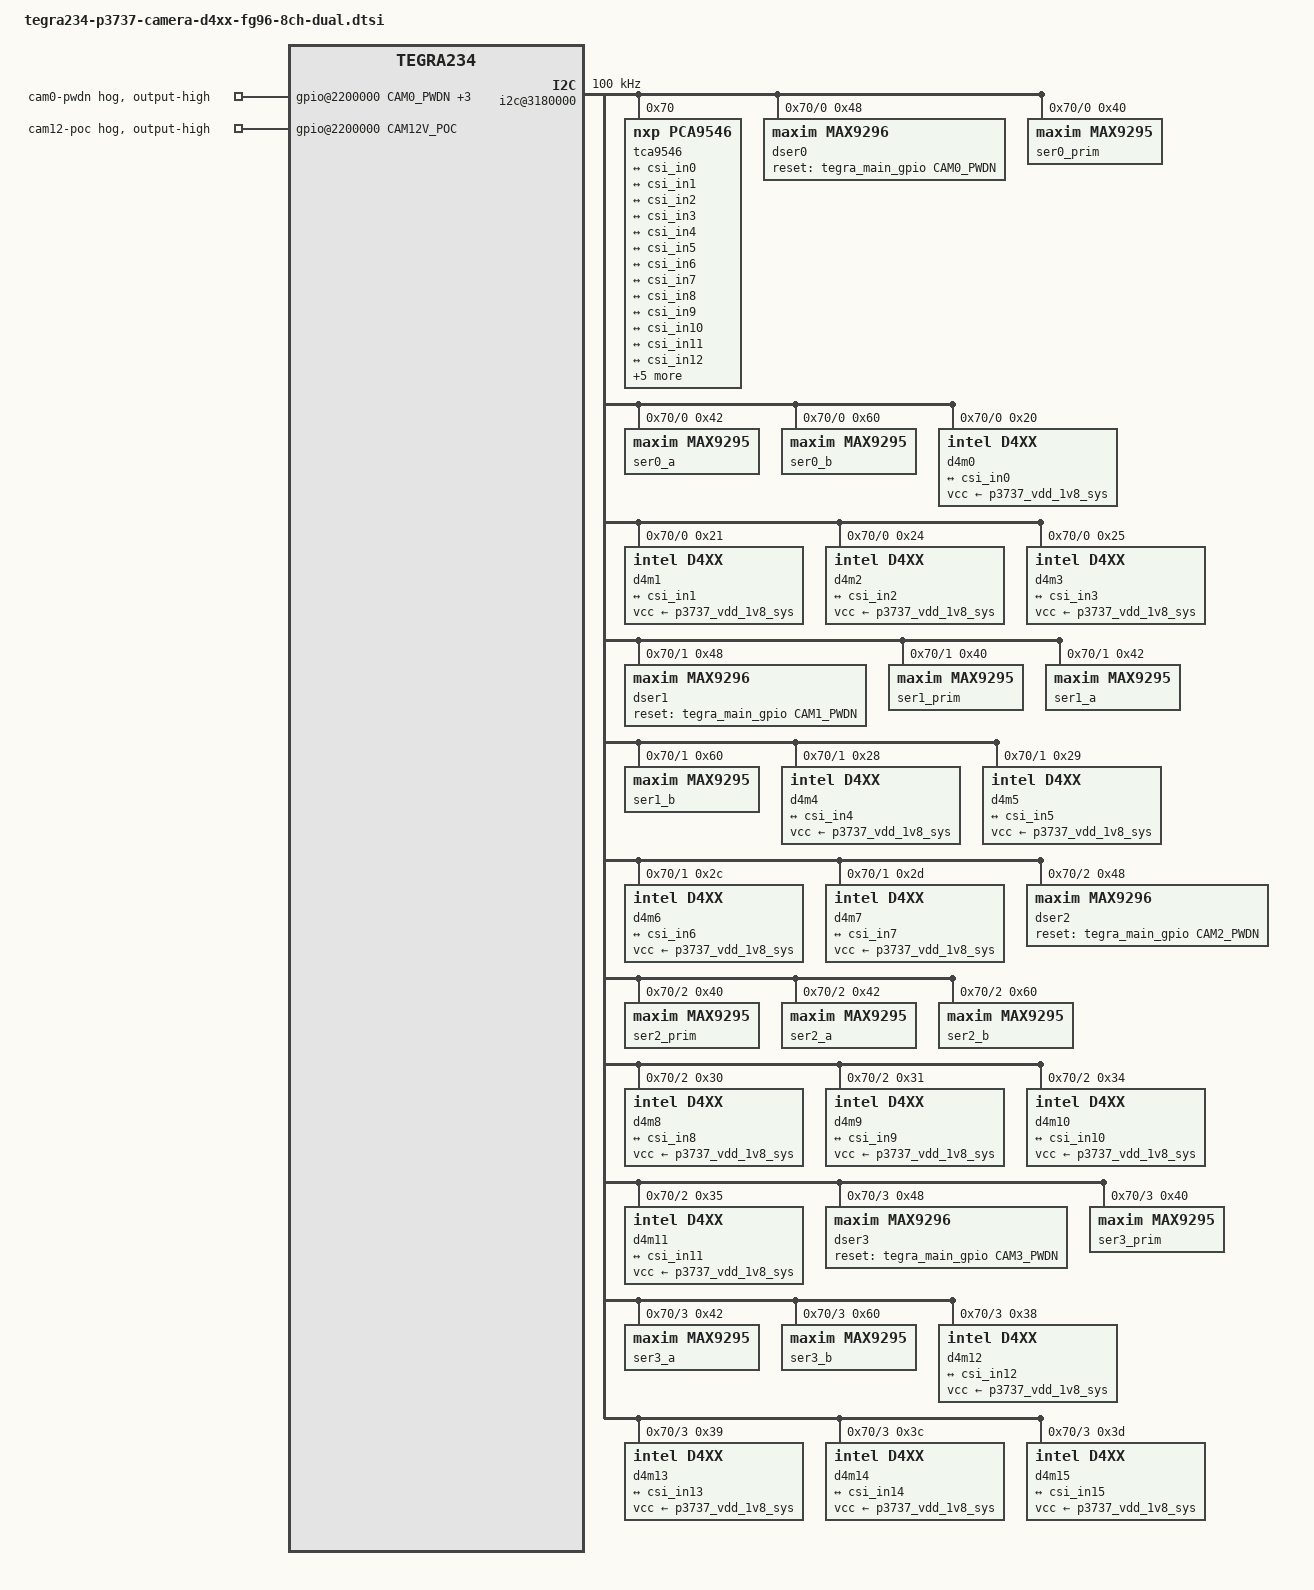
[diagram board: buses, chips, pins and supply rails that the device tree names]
// URL: https://fg96-8ch-doc.readthedocs.io/

#include "dt-bindings/clock/tegra234-clock.h"

#define CAM0_PWDN	TEGRA234_MAIN_GPIO(H, 6) //Pin93  - UART4_CTS L49/397      - MAX9296_1 PWDN
#define CAM1_PWDN	TEGRA234_MAIN_GPIO(H, 3) //Pin95  - UART4_TX  L5/394       - MAX9296_2 PWDN
#define CAM2_PWDN	TEGRA234_MAIN_GPIO(AC, 1)//Pin90  - GPIO15    F10/486      - MAX9296_3 PWDN
#define CAM3_PWDN	TEGRA234_MAIN_GPIO(AC, 0)//Pin92  - GPIO16    E9/487       - MAX9296_4 PWDN
#define CAM12V_POC	TEGRA234_MAIN_GPIO(AC, 7)//Pin119 - GPIO12    E10 CAM_VDD_SYS_EN/493 Low enable

#define CAM_SYNC	TEGRA234_AON_GPIO(CC, 0) //E61/SPI2_CLK       CAM_INT1/328 - MAX9296x4 MFP6

#define CAMERA_I2C_MUX_BUS(x) (0x1E + x)

// d4m addr 0x001cclss
// cc: max9296 index.  [0-3] for fg96
// l : a/b link index. [0-1] for a/b
// ss: stream index.   [0-3] for stream. 0: depth 1: color 2: ir 3: imu
// 4x max9296 - 4x d457
// [0x20-0x23][0x28-0x2b][0x30-0x33][0x38-0x3b]
// 4x max9296 - 8x d457
// [0x20-0x23][0x24-0x27]
// [0x28-0x2b][0x2c-0x2f]
// [0x30-0x33][0x34-0x37]
// [0x38-0x3b][0x3c-0x3f]

/* camera control gpio definitions */
/ {
	gpio@2200000 {
		cam-pwdn-high {
			gpio-hog;
			output-high;
			gpios = <CAM0_PWDN 0 CAM1_PWDN 0
				 CAM2_PWDN 0 CAM3_PWDN 0>;
			label = "cam0-pwdn", "cam1-pwdn",
				"cam2-pwdn", "cam3-pwdn";
		};
		cam-poc-high {
			gpio-hog;
			output-high;
			gpios = <CAM12V_POC 0>;
			label = "cam12-poc";
		};
	};

	capture_vi_base: tegra-capture-vi{
		num-channels = <16>;
		ports {
			#address-cells = <1>;
			#size-cells = <0>;

			vi_port0: port@0 {
				reg = <0>;
				vi_in0: endpoint {
					vc-id = <0>;
					port-index = <0>;
					bus-width = <2>;
					remote-endpoint = <&csi_out0>;
				};
			};
			vi_port1: port@1 {
				reg = <1>;
				vi_in1: endpoint {
					vc-id = <1>;
					port-index = <0>;
					bus-width = <2>;
					remote-endpoint = <&csi_out1>;
				};
			};
			vi_port2: port@2 {
				reg = <2>;
				vi_in2: endpoint {
					vc-id = <2>;
					port-index = <0>;
					bus-width = <2>;
					remote-endpoint = <&csi_out2>;
				};
			};
			vi_port3: port@3 {
				reg = <3>;
				vi_in3: endpoint {
					vc-id = <3>;
					port-index = <0>;
					bus-width = <2>;
					remote-endpoint = <&csi_out3>;
				};
			};
			vi_port4: port@4 {
				reg = <4>;
				vi_in4: endpoint {
					vc-id = <0>;
					port-index = <2>;
					bus-width = <2>;
					remote-endpoint = <&csi_out4>;
				};
			};
			vi_port5: port@5 {
				reg = <5>;
				vi_in5: endpoint {
					vc-id = <1>;
					port-index = <2>;
					bus-width = <2>;
					remote-endpoint = <&csi_out5>;
				};
			};
			vi_port6: port@6 {
				reg = <6>;
				vi_in6: endpoint {
					vc-id = <2>;
					port-index = <2>;
					bus-width = <2>;
					remote-endpoint = <&csi_out6>;
				};
			};
			vi_port7: port@7 {
				reg = <7>;
				vi_in7: endpoint {
					vc-id = <3>;
					port-index = <2>;
					bus-width = <2>;
					remote-endpoint = <&csi_out7>;
				};
			};
			vi_port8: port@8 {
				reg = <8>;
				vi_in8: endpoint {
					vc-id = <0>;
					port-index = <4>;
					bus-width = <2>;
					remote-endpoint = <&csi_out8>;
				};
			};
			vi_port9: port@9 {
				reg = <9>;
				vi_in9: endpoint {
					vc-id = <1>;
					port-index = <4>;
					bus-width = <2>;
					remote-endpoint = <&csi_out9>;
				};
			};
			vi_port10: port@10 {
				reg = <10>;
				vi_in10: endpoint {
					vc-id = <2>;
					port-index = <4>;
					bus-width = <2>;
					remote-endpoint = <&csi_out10>;
				};
			};
			vi_port11: port@11 {
				reg = <11>;
				vi_in11: endpoint {
					vc-id = <3>;
					port-index = <4>;
					bus-width = <2>;
					remote-endpoint = <&csi_out11>;
				};
			};
			vi_port12: port@12 {
				reg = <12>;
				vi_in12: endpoint {
					vc-id = <0>;
					port-index = <5>;
					bus-width = <2>;
					remote-endpoint = <&csi_out12>;
				};
			};
			vi_port13: port@13 {
				reg = <13>;
				vi_in13: endpoint {
					vc-id = <1>;
					port-index = <5>;
					bus-width = <2>;
					remote-endpoint = <&csi_out13>;
				};
			};
			vi_port14: port@14 {
				reg = <14>;
				vi_in14: endpoint {
					vc-id = <2>;
					port-index = <5>;
					bus-width = <2>;
					remote-endpoint = <&csi_out14>;
				};
			};
			vi_port15: port@15 {
				reg = <15>;
				vi_in15: endpoint {
					vc-id = <3>;
					port-index = <5>;
					bus-width = <2>;
					remote-endpoint = <&csi_out15>;
				};
			};
		};
	};

	host1x@13e00000 {
		csi_base: nvcsi@15a00000 {
			#address-cells = <1>;
			#size-cells = <0>;
			num-channels = <16>;
			csi_chan0: channel@0 {
				reg = <0>;
				ports {
					#address-cells = <1>;
					#size-cells = <0>;

					csi_chan0_port0: port@0 {
						reg = <0>;
						csi_in0: endpoint@0 {
							port-index = <0>;
							bus-width = <2>;
							remote-endpoint = <&d4m0_out>;
						};
					};
					csi_chan0_port1: port@1 {
						reg = <1>;
						csi_out0: endpoint@1 {
							remote-endpoint = <&vi_in0>;
						};
					};

				};
			};
			csi_chan1: channel@1 {
				reg = <1>;
				ports {
					#address-cells = <1>;
					#size-cells = <0>;

					csi_chan1_port0: port@0 {
						reg = <0>;
						csi_in1: endpoint@2 {
							port-index = <0>;
							bus-width = <2>;
							remote-endpoint = <&d4m1_out>;
						};
					};
					csi_chan1_port1: port@1 {
						reg = <1>;
						csi_out1: endpoint@3 {
							remote-endpoint = <&vi_in1>;
						};
					};

				};
			};
			csi_chan2: channel@2 {
				reg = <2>;
				ports {
					#address-cells = <1>;
					#size-cells = <0>;

					csi_chan2_port0: port@0 {
						reg = <0>;
						csi_in2: endpoint@4 {
							port-index = <0>;
							bus-width = <2>;
							remote-endpoint = <&d4m2_out>;
						};
					};
					csi_chan2_port1: port@1 {
						reg = <1>;
						csi_out2: endpoint@5 {
							remote-endpoint = <&vi_in2>;
						};
					};
				};
			};
			csi_chan3: channel@3 {
				reg = <3>;
				ports {
					#address-cells = <1>;
					#size-cells = <0>;

					csi_chan3_port0: port@0 {
						reg = <0>;
						csi_in3: endpoint@6 {
							port-index = <0>;
							bus-width = <2>;
							remote-endpoint = <&d4m3_out>;
						};
					};
					csi_chan3_port1: port@1 {
						reg = <1>;
						csi_out3: endpoint@7 {
							remote-endpoint = <&vi_in3>;
						};
					};
				};
			};
			csi_chan4: channel@4 {
				reg = <4>;
				ports {
					#address-cells = <1>;
					#size-cells = <0>;

					csi_chan4_port0: port@0 {
						reg = <0>;
						csi_in4: endpoint@8 {
							port-index = <2>;
							bus-width = <2>;
							remote-endpoint = <&d4m4_out>;
						};
					};
					csi_chan4_port1: port@1 {
						reg = <1>;
						csi_out4: endpoint@9 {
							remote-endpoint = <&vi_in4>;
						};
					};

				};
			};
			csi_chan5: channel@5 {
				reg = <5>;
				ports {
					#address-cells = <1>;
					#size-cells = <0>;

					csi_chan5_port0: port@0 {
						reg = <0>;
						csi_in5: endpoint@10 {
							port-index = <2>;
							bus-width = <2>;
							remote-endpoint = <&d4m5_out>;
						};
					};
					csi_chan5_port1: port@1 {
						reg = <1>;
						csi_out5: endpoint@11 {
							remote-endpoint = <&vi_in5>;
						};
					};
				};
			};
			csi_chan6: channel@6 {
				reg = <6>;
				ports {
					#address-cells = <1>;
					#size-cells = <0>;

					csi_chan6_port0: port@0 {
						reg = <0>;
						csi_in6: endpoint@12 {
							port-index = <2>;
							bus-width = <2>;
							remote-endpoint = <&d4m6_out>;
						};
					};
					csi_chan6_port1: port@1 {
						reg = <1>;
						csi_out6: endpoint@13 {
							remote-endpoint = <&vi_in6>;
						};
					};
				};
			};
			csi_chan7: channel@7 {
				reg = <7>;
				ports {
					#address-cells = <1>;
					#size-cells = <0>;

					csi_chan7_port0: port@0 {
						reg = <0>;
						csi_in7: endpoint@14 {
							port-index = <2>;
							bus-width = <2>;
							remote-endpoint = <&d4m7_out>;
						};
					};
					csi_chan7_port1: port@1 {
						reg = <1>;
						csi_out7: endpoint@15 {
							remote-endpoint = <&vi_in7>;
						};
					};
				};
			};
			csi_chan8: channel@8 {
				reg = <8>;
				ports {
					#address-cells = <1>;
					#size-cells = <0>;

					csi_chan8_port0: port@0 {
						reg = <0>;
						csi_in8: endpoint@16 {
							port-index = <4>;
							bus-width = <2>;
							remote-endpoint = <&d4m8_out>;
						};
					};
					csi_chan8_port1: port@1 {
						reg = <1>;
						csi_out8: endpoint@17 {
							remote-endpoint = <&vi_in8>;
						};
					};

				};
			};
			csi_chan9: channel@9 {
				reg = <9>;
				ports {
					#address-cells = <1>;
					#size-cells = <0>;

					csi_chan9_port0: port@0 {
						reg = <0>;
						csi_in9: endpoint@18 {
							port-index = <4>;
							bus-width = <2>;
							remote-endpoint = <&d4m9_out>;
						};
					};
					csi_chan9_port1: port@1 {
						reg = <1>;
						csi_out9: endpoint@19 {
							remote-endpoint = <&vi_in9>;
						};
					};

				};
			};
			csi_chan10: channel@10 {
				reg = <10>;
				ports {
					#address-cells = <1>;
					#size-cells = <0>;

					csi_chan10_port0: port@0 {
						reg = <0>;
						csi_in10: endpoint@20 {
							port-index = <4>;
							bus-width = <2>;
							remote-endpoint = <&d4m10_out>;
						};
					};
					csi_chan10_port1: port@1 {
						reg = <1>;
						csi_out10: endpoint@21 {
							remote-endpoint = <&vi_in10>;
						};
					};
				};
			};
			csi_chan11: channel@11 {
				reg = <11>;
				ports {
					#address-cells = <1>;
					#size-cells = <0>;

					csi_chan11_port0: port@0 {
						reg = <0>;
						csi_in11: endpoint@22 {
							port-index = <4>;
							bus-width = <2>;
							remote-endpoint = <&d4m11_out>;
						};
					};
					csi_chan11_port1: port@1 {
						reg = <1>;
						csi_out11: endpoint@23 {
							remote-endpoint = <&vi_in11>;
						};
					};
				};
			};
			csi_chan12: channel@12 {
				reg = <12>;
				ports {
					#address-cells = <1>;
					#size-cells = <0>;

					csi_chan12_port0: port@0 {
						reg = <0>;
						csi_in12: endpoint@24 {
							port-index = <6>;
							bus-width = <2>;
							remote-endpoint = <&d4m12_out>;
						};
					};
					csi_chan12_port1: port@1 {
						reg = <1>;
						csi_out12: endpoint@25 {
							remote-endpoint = <&vi_in12>;
						};
					};

				};
			};
			csi_chan13: channel@13 {
				reg = <13>;
				ports {
					#address-cells = <1>;
					#size-cells = <0>;

					csi_chan13_port0: port@0 {
						reg = <0>;
						csi_in13: endpoint@26 {
							port-index = <6>;
							bus-width = <2>;
							remote-endpoint = <&d4m13_out>;
						};
					};
					csi_chan13_port1: port@1 {
						reg = <1>;
						csi_out13: endpoint@27 {
							remote-endpoint = <&vi_in13>;
						};
					};
				};
			};
			csi_chan14: channel@14 {
				reg = <14>;
				ports {
					#address-cells = <1>;
					#size-cells = <0>;

					csi_chan14_port0: port@0 {
						reg = <0>;
						csi_in14: endpoint@28 {
							port-index = <6>;
							bus-width = <2>;
							remote-endpoint = <&d4m14_out>;
						};
					};
					csi_chan14_port1: port@1 {
						reg = <1>;
						csi_out14: endpoint@29 {
							remote-endpoint = <&vi_in14>;
						};
					};
				};
			};
			csi_chan15: channel@15 {
				reg = <15>;
				ports {
					#address-cells = <1>;
					#size-cells = <0>;

					csi_chan15_port0: port@0 {
						reg = <0>;
						csi_in15: endpoint@30 {
							port-index = <6>;
							bus-width = <2>;
							remote-endpoint = <&d4m15_out>;
						};
					};
					csi_chan15_port1: port@1 {
						reg = <1>;
						csi_out15: endpoint@31 {
							remote-endpoint = <&vi_in15>;
						};
					};
				};
			};
		};
	};
	
	i2c@3180000 {
		status = "okay";
		clock-frequency = <100000>;
		tca9546@70 {
			reg = <0x70>;
			compatible = "nxp,pca9546";
			#address-cells = <1>;
			#size-cells = <0>;
			skip_mux_detect = "yes";
			vif-supply = <&p3737_vdd_1v8_sys>;
			vcc-supply = <&p3737_vdd_1v8_sys>;
			vcc-pullup-supply = <&battery_reg>;
			force_bus_start = <CAMERA_I2C_MUX_BUS(0)>;
			vcc_lp = "vcc";
			i2c@0 {
				reg = <0>;
				i2c-mux,deselect-on-exit;
				#address-cells = <1>;
				#size-cells = <0>;

				dser0: max9296@48 {
					reg = <0x48>;
					compatible = "maxim,max9296";
					csi-mode = "2x4";
					max-src = <2>;
					reset-gpios = <&tegra_main_gpio CAM0_PWDN GPIO_ACTIVE_HIGH>;
				};
				ser0_prim: max9295_prim@40 {
					reg = <0x40>;
					compatible = "maxim,max9295";
					is-prim-ser;
					ser-mux = <0>;
				};
				ser0_a: max9295_a@42 {
					reg = <0x42>;
					compatible = "maxim,max9295";
					maxim,gmsl-dser-device = <&dser0>;
				};
				ser0_b: max9295_b@60 {
					reg = <0x60>;
					compatible = "maxim,max9295";
					maxim,gmsl-dser-device = <&dser0>;
				};

				d4m0: d4m@20 {
					reg = <0x20>;
					compatible = "intel,d4xx";
					def-addr = <0x10>;
					vcc-supply = <&p3737_vdd_1v8_sys>;
					cam-type = "Depth";
					maxim,gmsl-ser-device = <&ser0_a>;
					maxim,gmsl-dser-device = <&dser0>;
					intel,d4m-mux-device = <&d4m1>;
					ports {
						#address-cells = <1>;
						#size-cells = <0>;

						port@0 {
							reg = <0>;
							d4m0_out: endpoint {
								port-index = <0>;
								bus-width = <2>;
								vc-id = <0>;
								remote-endpoint = <&csi_in0>;
							};
						};
					};
					mode0 {
						pixel_t = "grey_y16";
						num_lanes = "2";
						csi_pixel_bit_depth = "16";
						active_w = "1280";
						active_h = "720";
						tegra_sinterface = "serial_a";
						mclk_khz = "24000";
						pix_clk_hz = "74250000";
						line_length = "1280";
						embedded_metadata_height = "1";
					};
					gmsl-link {
						src-csi-port = "b";
						dst-csi-port = "a";
						serdes-csi-link = "a";
						csi-mode = "1x4";
						st-vc = <0>;
						vc-id = <0>;
						num-lanes = <2>;
						ser-mux=<0>;
					};
				};
				d4m1: d4m@21 {
					reg = <0x21>;
					compatible = "intel,d4xx";
					def-addr = <0x10>;
					vcc-supply = <&p3737_vdd_1v8_sys>;
					cam-type = "RGB";
					maxim,gmsl-ser-device = <&ser0_a>;
					maxim,gmsl-dser-device = <&dser0>;
					intel,d4m-mux-device = <&d4m1>;
					ports {
						#address-cells = <1>;
						#size-cells = <0>;

						port@0 {
							reg = <0>;
							d4m1_out: endpoint {
								port-index = <0>;
								bus-width = <2>;
								vc-id = <1>;
								remote-endpoint = <&csi_in1>;
							};
						};
					};
					mode0 {
						pixel_t = "grey_y16";
						num_lanes = "2";
						csi_pixel_bit_depth = "16";
						active_w = "1920";
						active_h = "1080";
						tegra_sinterface = "serial_a";
						mclk_khz = "24000";
						pix_clk_hz = "74250000";
						line_length = "1280";
						embedded_metadata_height = "1";
					};
					gmsl-link {
						src-csi-port = "b";
						dst-csi-port = "a";
						serdes-csi-link = "a";
						csi-mode = "1x4";
						st-vc = <0>;
						vc-id = <1>;
						num-lanes = <2>;
						ser-mux=<0>;
					};
				};
				// d4m1: d4m@22 {
				// 	status = "okay";
				// 	reg = <0x22>;
				// 	compatible = "intel,d4xx";
				// 	def-addr = <0x10>;
				// 	vcc-supply = <&p3737_vdd_1v8_sys>;
				// 	cam-type = "Y8";
				// 	maxim,gmsl-ser-device = <&ser0_a>;
				// 	maxim,gmsl-dser-device = <&dser0>;
				// 	intel,d4m-mux-device = <&d4m1>;
				// 	ports {
				// 		#address-cells = <1>;
				// 		#size-cells = <0>;

				// 		port@0 {
				// 			reg = <0>;
				// 			d4m1_out: endpoint {
				// 				port-index = <0>;
				// 				bus-width = <2>;
				// 				vc-id = <1>;
				// 				remote-endpoint = <&csi_in1>;
				// 			};
				// 		};
				// 	};
				// 	/* mode0: Y8, mode1: depth D16 */
				// 	mode0 {
				// 		pixel_t = "grey_y16";
				// 		num_lanes = "2";
				// 		csi_pixel_bit_depth = "16";
				// 		active_w = "1280";
				// 		active_h = "720";
				// 		tegra_sinterface = "serial_a";
				// 		mclk_khz = "24000";
				// 		pix_clk_hz = "74250000";
				// 		line_length = "1280"; /* 2200 */
				// 		embedded_metadata_height = "0";
				// 	};
				// 	gmsl-link {
				// 		src-csi-port = "b";
				// 		dst-csi-port = "a";
				// 		serdes-csi-link = "a";
				// 		csi-mode = "1x4";
				// 		st-vc = <0>;
				// 		vc-id = <1>;
				// 		num-lanes = <2>;
				// 		ser-mux = <0>;
				// 	};
				// };

				d4m2: d4m@24 {
					status = "okay";
					reg = <0x24>;
					compatible = "intel,d4xx";
					def-addr = <0x10>;
					vcc-supply = <&p3737_vdd_1v8_sys>;
					cam-type = "Depth";
					maxim,gmsl-ser-device = <&ser0_b>;
					maxim,gmsl-dser-device = <&dser0>;
					intel,d4m-mux-device = <&d4m3>;
					ports {
						#address-cells = <1>;
						#size-cells = <0>;

						port@0 {
							reg = <0>;
							d4m2_out: endpoint {
								port-index = <0>;
								bus-width = <2>;
								vc-id = <2>;
								remote-endpoint = <&csi_in2>;
							};
						};
					};
					mode0 {
						pixel_t = "grey_y16";
						num_lanes = "2";
						csi_pixel_bit_depth = "16";
						active_w = "1280";
						active_h = "720";
						tegra_sinterface = "serial_a";
						mclk_khz = "24000";
						pix_clk_hz = "74250000";
						line_length = "1280";
						embedded_metadata_height = "1";
					};
					gmsl-link {
						src-csi-port = "b";
						dst-csi-port = "a";
						serdes-csi-link = "b";
						csi-mode = "1x4";
						st-vc = <0>;
						vc-id = <2>;
						num-lanes = <2>;
						ser-mux=<0>;
					};
				};
				d4m3: d4m@25 {
					status = "okay";
					reg = <0x25>;
					compatible = "intel,d4xx";
					def-addr = <0x10>;
					vcc-supply = <&p3737_vdd_1v8_sys>;
					cam-type = "RGB";
					maxim,gmsl-ser-device = <&ser0_b>;
					maxim,gmsl-dser-device = <&dser0>;
					intel,d4m-mux-device = <&d4m3>;
					ports {
						#address-cells = <1>;
						#size-cells = <0>;

						port@0 {
							reg = <0>;
							d4m3_out: endpoint {
								port-index = <0>;
								bus-width = <2>;
								vc-id = <3>;
								remote-endpoint = <&csi_in3>;
							};
						};
					};
					mode0 {
						pixel_t = "grey_y16";
						num_lanes = "2";
						csi_pixel_bit_depth = "16";
						active_w = "1920";
						active_h = "1080";
						tegra_sinterface = "serial_a";
						mclk_khz = "24000";
						pix_clk_hz = "74250000";
						line_length = "1280"; /* 2200 */
						embedded_metadata_height = "1";
					};
					gmsl-link {
						src-csi-port = "b";
						dst-csi-port = "a";
						serdes-csi-link = "b";
						csi-mode = "1x4";
						st-vc = <0>;
						vc-id = <3>;
						num-lanes = <2>;
						ser-mux=<0>;
					};
				};
				// d4m3: d4m@26 {
				// 	status = "okay";
				// 	reg = <0x26>;
				// 	compatible = "intel,d4xx";
				// 	def-addr = <0x10>;
				// 	vcc-supply = <&p3737_vdd_1v8_sys>;
				// 	cam-type = "Y8";
				// 	maxim,gmsl-ser-device = <&ser0_b>;
				// 	maxim,gmsl-dser-device = <&dser0>;
				// 	intel,d4m-mux-device = <&d4m3>;
				// 	ports {
				// 		#address-cells = <1>;
				// 		#size-cells = <0>;

				// 		port@0 {
				// 			reg = <0>;
				// 			d4m3_out: endpoint {
				// 				port-index = <0>;
				// 				bus-width = <2>;
				// 				vc-id = <3>;
				// 				remote-endpoint = <&csi_in3>;
				// 			};
				// 		};
				// 	};
				// 	/* mode0: Y8, mode1: depth D16 */
				// 	mode0 {
				// 		pixel_t = "grey_y16";
				// 		num_lanes = "2";
				// 		csi_pixel_bit_depth = "16";
				// 		active_w = "1280";
				// 		active_h = "720";
				// 		tegra_sinterface = "serial_a";
				// 		mclk_khz = "24000";
				// 		pix_clk_hz = "74250000";
				// 		line_length = "1280"; /* 2200 */
				// 		embedded_metadata_height = "0";
				// 	};
				// 	gmsl-link {
				// 		src-csi-port = "b";
				// 		dst-csi-port = "a";
				// 		serdes-csi-link = "b";
				// 		csi-mode = "1x4";
				// 		st-vc = <0>;
				// 		vc-id = <3>;
				// 		num-lanes = <2>;
				// 		ser-mux = <0>;
				// 	};
				// };
			};

			i2c@1 {
				reg = <1>;
				i2c-mux,deselect-on-exit;
				#address-cells = <1>;
				#size-cells = <0>;

				dser1: max9296@48 {
					reg = <0x48>;
					compatible = "maxim,max9296";
					csi-mode = "2x4";
					max-src = <2>;
					reset-gpios = <&tegra_main_gpio CAM1_PWDN GPIO_ACTIVE_HIGH>;
				};
				ser1_prim: max9295_prim@40 {
					reg = <0x40>;
					compatible = "maxim,max9295";
					is-prim-ser;
					ser-mux = <1>;
				};

				ser1_a: max9295_a@42 {
					reg = <0x42>;
					compatible = "maxim,max9295";
					maxim,gmsl-dser-device = <&dser1>;
				};
				ser1_b: max9295_b@60 {
					reg = <0x60>;
					compatible = "maxim,max9295";
					maxim,gmsl-dser-device = <&dser1>;
				};

				d4m4: d4m@28 {
					status = "okay";
					reg = <0x28>;
					compatible = "intel,d4xx";
					def-addr = <0x10>;
					vcc-supply = <&p3737_vdd_1v8_sys>;
					cam-type = "Depth";
					maxim,gmsl-ser-device = <&ser1_a>;
					maxim,gmsl-dser-device = <&dser1>;
					intel,d4m-mux-device = <&d4m5>;
					ports {
						#address-cells = <1>;
						#size-cells = <0>;

						port@0 {
							reg = <0>;
							d4m4_out: endpoint {
								port-index = <2>;
								bus-width = <2>;
								vc-id = <0>;
								remote-endpoint = <&csi_in4>;
							};
						};
					};
					mode0 {
						pixel_t = "grey_y16";
						num_lanes = "2";
						csi_pixel_bit_depth = "16";
						active_w = "1280";
						active_h = "720";
						tegra_sinterface = "serial_c";
						mclk_khz = "24000";
						pix_clk_hz = "74250000";
						line_length = "1280";
						embedded_metadata_height = "1";
					};
					gmsl-link {
						src-csi-port = "b";
						dst-csi-port = "a";
						serdes-csi-link = "a";
						csi-mode = "1x4";
						st-vc = <0>;
						vc-id = <0>;
						num-lanes = <2>;
						ser-mux=<1>;
					};
				};
				d4m5: d4m@29 {
					status = "okay";
					reg = <0x29>;
					compatible = "intel,d4xx";
					def-addr = <0x10>;
					vcc-supply = <&p3737_vdd_1v8_sys>;
					cam-type = "RGB";
					maxim,gmsl-ser-device = <&ser1_a>;
					maxim,gmsl-dser-device = <&dser1>;
					intel,d4m-mux-device = <&d4m5>;
					ports {
						#address-cells = <1>;
						#size-cells = <0>;

						port@0 {
							reg = <0>;
							d4m5_out: endpoint {
								port-index = <2>;
								bus-width = <2>;
								vc-id = <1>;
								remote-endpoint = <&csi_in5>;
							};
						};
					};
					mode0 {
						pixel_t = "grey_y16";
						num_lanes = "2";
						csi_pixel_bit_depth = "16";
						active_w = "1920";
						active_h = "1080";
						tegra_sinterface = "serial_c";
						mclk_khz = "24000";
						pix_clk_hz = "74250000";
						line_length = "1280";
						embedded_metadata_height = "1";
					};
					gmsl-link {
						src-csi-port = "b";
						dst-csi-port = "a";
						serdes-csi-link = "a";
						csi-mode = "1x4";
						st-vc = <0>;
						vc-id = <1>;
						num-lanes = <2>;
						ser-mux=<1>;
					};
				};
				// d4m5: d4m@2a {
				// 	status = "okay";
				// 	reg = <0x2a>;
				// 	compatible = "intel,d4xx";
				// 	def-addr = <0x10>;
				// 	vcc-supply = <&p3737_vdd_1v8_sys>;
				// 	cam-type = "Y8";
				// 	maxim,gmsl-ser-device = <&ser1_a>;
				// 	maxim,gmsl-dser-device = <&dser1>;
				// 	intel,d4m-mux-device = <&d4m5>;
				// 	ports {
				// 		#address-cells = <1>;
				// 		#size-cells = <0>;

				// 		port@0 {
				// 			reg = <0>;
				// 			d4m5_out: endpoint {
				// 				port-index = <2>;
				// 				bus-width = <2>;
				// 				vc-id = <1>;
				// 				remote-endpoint = <&csi_in5>;
				// 			};
				// 		};
				// 	};
				// 	/* mode0: Y8, mode1: depth D16 */
				// 	mode0 {
				// 		pixel_t = "grey_y16";
				// 		num_lanes = "2";
				// 		csi_pixel_bit_depth = "16";
				// 		active_w = "1280";
				// 		active_h = "720";
				// 		tegra_sinterface = "serial_c";
				// 		mclk_khz = "24000";
				// 		pix_clk_hz = "74250000";
				// 		line_length = "1280"; /* 2200 */
				// 		embedded_metadata_height = "0";
				// 	};
				// 	gmsl-link {
				// 		src-csi-port = "b";
				// 		dst-csi-port = "a";
				// 		serdes-csi-link = "a";
				// 		csi-mode = "1x4";
				// 		st-vc = <0>;
				// 		vc-id = <1>;
				// 		num-lanes = <2>;
				// 		ser-mux = <1>;
				// 	};
				// };
				d4m6: d4m@2c {
					status = "okay";
					reg = <0x2c>;
					compatible = "intel,d4xx";
					def-addr = <0x10>;
					vcc-supply = <&p3737_vdd_1v8_sys>;
					cam-type = "Depth";
					maxim,gmsl-ser-device = <&ser1_b>;
					maxim,gmsl-dser-device = <&dser1>;
					intel,d4m-mux-device = <&d4m7>;
					ports {
						#address-cells = <1>;
						#size-cells = <0>;

						port@0 {
							reg = <0>;
							d4m6_out: endpoint {
								port-index = <2>;
								bus-width = <2>;
								vc-id = <2>;
								remote-endpoint = <&csi_in6>;
							};
						};
					};
					mode0 {
						pixel_t = "grey_y16";
						num_lanes = "2";
						csi_pixel_bit_depth = "16";
						active_w = "1280";
						active_h = "720";
						tegra_sinterface = "serial_c";
						mclk_khz = "24000";
						pix_clk_hz = "74250000";
						line_length = "1280";
						embedded_metadata_height = "1";
					};
					gmsl-link {
						src-csi-port = "b";
						dst-csi-port = "a";
						serdes-csi-link = "b";
						csi-mode = "1x4";
						st-vc = <0>;
						vc-id = <2>;
						num-lanes = <2>;
						ser-mux=<1>;
					};
				};
				d4m7: d4m@2d {
					status = "okay";
					reg = <0x2d>;
					compatible = "intel,d4xx";
					def-addr = <0x10>;
					vcc-supply = <&p3737_vdd_1v8_sys>;
					cam-type = "RGB";
					maxim,gmsl-ser-device = <&ser1_b>;
					maxim,gmsl-dser-device = <&dser1>;
					intel,d4m-mux-device = <&d4m7>;
					ports {
						#address-cells = <1>;
						#size-cells = <0>;

						port@0 {
							reg = <0>;
							d4m7_out: endpoint {
								port-index = <2>;
								bus-width = <2>;
								vc-id = <3>;
								remote-endpoint = <&csi_in7>;
							};
						};
					};
					mode0 {
						pixel_t = "grey_y16";
						num_lanes = "2";
						csi_pixel_bit_depth = "16";
						active_w = "1920";
						active_h = "1080";
						tegra_sinterface = "serial_c";
						mclk_khz = "24000";
						pix_clk_hz = "74250000";
						line_length = "1280";
						embedded_metadata_height = "1";
					};
					gmsl-link {
						src-csi-port = "b";
						dst-csi-port = "a";
						serdes-csi-link = "b";
						csi-mode = "1x4";
						st-vc = <0>;
						vc-id = <3>;
						num-lanes = <2>;
						ser-mux=<1>;
					};
				};
				// d4m7: d4m@2e {
				// 	status = "okay";
				// 	reg = <0x2e>;
				// 	compatible = "intel,d4xx";
				// 	def-addr = <0x10>;
				// 	vcc-supply = <&p3737_vdd_1v8_sys>;
				// 	cam-type = "Y8";
				// 	maxim,gmsl-ser-device = <&ser1_b>;
				// 	maxim,gmsl-dser-device = <&dser1>;
				// 	intel,d4m-mux-device = <&d4m7>;
				// 	ports {
				// 		#address-cells = <1>;
				// 		#size-cells = <0>;

				// 		port@0 {
				// 			reg = <0>;
				// 			d4m7_out: endpoint {
				// 				port-index = <2>;
				// 				bus-width = <2>;
				// 				vc-id = <3>;
				// 				remote-endpoint = <&csi_in7>;
				// 			};
				// 		};
				// 	};
				// 	/* mode0: Y8, mode1: depth D16 */
				// 	mode0 {
				// 		pixel_t = "grey_y16";
				// 		num_lanes = "2";
				// 		csi_pixel_bit_depth = "16";
				// 		active_w = "1280";
				// 		active_h = "720";
				// 		tegra_sinterface = "serial_c";
				// 		mclk_khz = "24000";
				// 		pix_clk_hz = "74250000";
				// 		line_length = "1280"; /* 2200 */
				// 		embedded_metadata_height = "0";
				// 	};
				// 	gmsl-link {
				// 		src-csi-port = "b";
				// 		dst-csi-port = "a";
				// 		serdes-csi-link = "b";
				// 		csi-mode = "1x4";
				// 		st-vc = <0>;
				// 		vc-id = <3>;
				// 		num-lanes = <2>;
				// 		ser-mux = <1>;
				// 	};
				// };
			};

			i2c@2 {
				reg = <2>;
				i2c-mux,deselect-on-exit;
				#address-cells = <1>;
				#size-cells = <0>;

				dser2: max9296@48 {
					reg = <0x48>;
					compatible = "maxim,max9296";
					csi-mode = "2x4";
					max-src = <2>;
					reset-gpios = <&tegra_main_gpio CAM2_PWDN GPIO_ACTIVE_HIGH>;
				};
				ser2_prim: max9295_prim@40 {
					reg = <0x40>;
					compatible = "maxim,max9295";
					is-prim-ser;
					ser-mux = <2>;
				};

				ser2_a: max9295_a@42 {
					reg = <0x42>;
					compatible = "maxim,max9295";
					maxim,gmsl-dser-device = <&dser2>;
				};
				ser2_b: max9295_b@60 {
					reg = <0x60>;
					compatible = "maxim,max9295";
					maxim,gmsl-dser-device = <&dser2>;
				};

				d4m8: d4m@30 {
					status = "okay";
					reg = <0x30>;
					compatible = "intel,d4xx";
					def-addr = <0x10>;
					vcc-supply = <&p3737_vdd_1v8_sys>;
					cam-type = "Depth";
					maxim,gmsl-ser-device = <&ser2_a>;
					maxim,gmsl-dser-device = <&dser2>;
					intel,d4m-mux-device = <&d4m9>;
					ports {
						#address-cells = <1>;
						#size-cells = <0>;

						port@0 {
							reg = <0>;
							d4m8_out: endpoint {
								port-index = <4>;
								bus-width = <2>;
								vc-id = <0>;
								remote-endpoint = <&csi_in8>;
							};
						};
					};
					mode0 {
						pixel_t = "grey_y16";
						num_lanes = "2";
						csi_pixel_bit_depth = "16";
						active_w = "1280";
						active_h = "720";
						tegra_sinterface = "serial_e";
						mclk_khz = "24000";
						pix_clk_hz = "74250000";
						line_length = "1280";
						embedded_metadata_height = "1";
					};
					gmsl-link {
						src-csi-port = "b";
						dst-csi-port = "a";
						serdes-csi-link = "a";
						csi-mode = "1x4";
						st-vc = <0>;
						vc-id = <0>;
						num-lanes = <2>;
						ser-mux=<2>;
					};
				};

				d4m9: d4m@31 {
					status = "okay";
					reg = <0x31>;
					compatible = "intel,d4xx";
					def-addr = <0x10>;
					vcc-supply = <&p3737_vdd_1v8_sys>;
					cam-type = "RGB";
					maxim,gmsl-ser-device = <&ser2_a>;
					maxim,gmsl-dser-device = <&dser2>;
					intel,d4m-mux-device = <&d4m9>;
					ports {
						#address-cells = <1>;
						#size-cells = <0>;

						port@0 {
							reg = <0>;
							d4m9_out: endpoint {
								port-index = <4>;
								bus-width = <2>;
								vc-id = <1>;
								remote-endpoint = <&csi_in9>;
							};
						};
					};
					mode0 {
						pixel_t = "grey_y16";
						num_lanes = "2";
						csi_pixel_bit_depth = "16";
						active_w = "1920";
						active_h = "1080";
						tegra_sinterface = "serial_e";
						mclk_khz = "24000";
						pix_clk_hz = "74250000";
						line_length = "1280";
						embedded_metadata_height = "1";
					};
					gmsl-link {
						src-csi-port = "b";
						dst-csi-port = "a";
						serdes-csi-link = "a";
						csi-mode = "1x4";
						st-vc = <0>;
						vc-id = <1>;
						num-lanes = <2>;
						ser-mux=<2>;
					};
				};

				// d4m9: d4m@32 {
				// 	status = "okay";
				// 	reg = <0x32>;
				// 	compatible = "intel,d4xx";
				// 	def-addr = <0x10>;
				// 	vcc-supply = <&p3737_vdd_1v8_sys>;
				// 	cam-type = "Y8";
				// 	maxim,gmsl-ser-device = <&ser2_a>;
				// 	maxim,gmsl-dser-device = <&dser2>;
				// 	intel,d4m-mux-device = <&d4m9>;
				// 	ports {
				// 		#address-cells = <1>;
				// 		#size-cells = <0>;

				// 		port@0 {
				// 			reg = <0>;
				// 			d4m9_out: endpoint {
				// 				port-index = <4>;
				// 				bus-width = <2>;
				// 				vc-id = <1>;
				// 				remote-endpoint = <&csi_in9>;
				// 			};
				// 		};
				// 	};
				// 	/* mode0: Y8, mode1: depth D16 */
				// 	mode0 {
				// 		pixel_t = "grey_y16";
				// 		num_lanes = "2";
				// 		csi_pixel_bit_depth = "16";
				// 		active_w = "1280";
				// 		active_h = "720";
				// 		tegra_sinterface = "serial_e";
				// 		mclk_khz = "24000";
				// 		pix_clk_hz = "74250000";
				// 		line_length = "1280"; /* 2200 */
				// 		embedded_metadata_height = "0";
				// 	};
				// 	gmsl-link {
				// 		src-csi-port = "b";
				// 		dst-csi-port = "a";
				// 		serdes-csi-link = "a";
				// 		csi-mode = "1x4";
				// 		st-vc = <0>;
				// 		vc-id = <1>;
				// 		num-lanes = <2>;
				// 		ser-mux = <2>;
				// 	};
				// };

				d4m10: d4m@34 {
					status = "okay";
					reg = <0x34>;
					compatible = "intel,d4xx";
					def-addr = <0x10>;
					vcc-supply = <&p3737_vdd_1v8_sys>;
					cam-type = "Depth";
					maxim,gmsl-ser-device = <&ser2_b>;
					maxim,gmsl-dser-device = <&dser2>;
					intel,d4m-mux-device = <&d4m11>;
					ports {
						#address-cells = <1>;
						#size-cells = <0>;

						port@0 {
							reg = <0>;
							d4m10_out: endpoint {
								port-index = <4>;
								bus-width = <2>;
								vc-id = <2>;
								remote-endpoint = <&csi_in10>;
							};
						};
					};
					mode0 {
						pixel_t = "grey_y16";
						num_lanes = "2";
						csi_pixel_bit_depth = "16";
						active_w = "1280";
						active_h = "720";
						tegra_sinterface = "serial_e";
						mclk_khz = "24000";
						pix_clk_hz = "74250000";
						line_length = "1280";
						embedded_metadata_height = "1";
					};
					gmsl-link {
						src-csi-port = "b";
						dst-csi-port = "a";
						serdes-csi-link = "b";
						csi-mode = "1x4";
						st-vc = <0>;
						vc-id = <2>;
						num-lanes = <2>;
						ser-mux=<2>;
					};
				};
				d4m11: d4m@35 {
					status = "okay";
					reg = <0x35>;
					compatible = "intel,d4xx";
					def-addr = <0x10>;
					vcc-supply = <&p3737_vdd_1v8_sys>;
					cam-type = "RGB";
					maxim,gmsl-ser-device = <&ser2_b>;
					maxim,gmsl-dser-device = <&dser2>;
					intel,d4m-mux-device = <&d4m11>;
					ports {
						#address-cells = <1>;
						#size-cells = <0>;

						port@0 {
							reg = <0>;
							d4m11_out: endpoint {
								port-index = <4>;
								bus-width = <2>;
								vc-id = <3>;
								remote-endpoint = <&csi_in11>;
							};
						};
					};
					mode0 {
						pixel_t = "grey_y16";
						num_lanes = "2";
						csi_pixel_bit_depth = "16";
						active_w = "1920";
						active_h = "1080";
						tegra_sinterface = "serial_e";
						mclk_khz = "24000";
						pix_clk_hz = "74250000";
						line_length = "1280";
						embedded_metadata_height = "1";
					};
					gmsl-link {
						src-csi-port = "b";
						dst-csi-port = "a";
						serdes-csi-link = "b";
						csi-mode = "1x4";
						st-vc = <0>;
						vc-id = <3>;
						num-lanes = <2>;
						ser-mux = <2>;
					};
				};
				// d4m11: d4m@36 {
				// 	status = "okay";
				// 	reg = <0x36>;
				// 	compatible = "intel,d4xx";
				// 	def-addr = <0x10>;
				// 	vcc-supply = <&p3737_vdd_1v8_sys>;
				// 	cam-type = "Y8";
				// 	maxim,gmsl-ser-device = <&ser2_b>;
				// 	maxim,gmsl-dser-device = <&dser2>;
				// 	intel,d4m-mux-device = <&d4m11>;
				// 	ports {
				// 		#address-cells = <1>;
				// 		#size-cells = <0>;

				// 		port@0 {
				// 			reg = <0>;
				// 			d4m11_out: endpoint {
				// 				port-index = <4>;
				// 				bus-width = <2>;
				// 				vc-id = <3>;
				// 				remote-endpoint = <&csi_in11>;
				// 			};
				// 		};
				// 	};
				// 	/* mode0: Y8, mode1: depth D16 */
				// 	mode0 {
				// 		pixel_t = "grey_y16";
				// 		num_lanes = "2";
				// 		csi_pixel_bit_depth = "16";
				// 		active_w = "1280";
				// 		active_h = "720";
				// 		tegra_sinterface = "serial_e";
				// 		mclk_khz = "24000";
				// 		pix_clk_hz = "74250000";
				// 		line_length = "1280"; /* 2200 */
				// 		embedded_metadata_height = "0";
				// 	};
				// 	gmsl-link {
				// 		src-csi-port = "b";
				// 		dst-csi-port = "a";
				// 		serdes-csi-link = "b";
				// 		csi-mode = "1x4";
				// 		st-vc = <0>;
				// 		vc-id = <3>;
				// 		num-lanes = <2>;
				// 		ser-mux = <2>;
				// 	};
				// };
			};

			i2c@3 {
				reg = <3>;
				i2c-mux,deselect-on-exit;
				#address-cells = <1>;
				#size-cells = <0>;

				dser3: max9296@48 {
					reg = <0x48>;
					compatible = "maxim,max9296";
					csi-mode = "2x4";
					max-src = <2>;
					reset-gpios = <&tegra_main_gpio CAM3_PWDN GPIO_ACTIVE_HIGH>;
				};
				ser3_prim: max9295_prim@40 {
					reg = <0x40>;
					compatible = "maxim,max9295";
					is-prim-ser;
					ser-mux = <3>;
				};

				ser3_a: max9295_a@42 {
					reg = <0x42>;
					compatible = "maxim,max9295";
					maxim,gmsl-dser-device = <&dser3>;
				};
				ser3_b: max9295_b@60 {
					reg = <0x60>;
					compatible = "maxim,max9295";
					maxim,gmsl-dser-device = <&dser3>;
				};

				d4m12: d4m@38 {
					status = "okay";
					reg = <0x38>;
					compatible = "intel,d4xx";
					def-addr = <0x10>;
					vcc-supply = <&p3737_vdd_1v8_sys>;
					cam-type = "Depth";
					maxim,gmsl-ser-device = <&ser3_a>;
					maxim,gmsl-dser-device = <&dser3>;
					intel,d4m-mux-device = <&d4m13>;
					ports {
						#address-cells = <1>;
						#size-cells = <0>;

						port@0 {
							reg = <0>;
							d4m12_out: endpoint {
								port-index = <5>;
								bus-width = <2>;
								vc-id = <0>;
								remote-endpoint = <&csi_in12>;
							};
						};
					};
					mode0 {
						pixel_t = "grey_y16";
						num_lanes = "2";
						csi_pixel_bit_depth = "16";
						active_w = "1280";
						active_h = "720";
						tegra_sinterface = "serial_g";
						mclk_khz = "24000";
						pix_clk_hz = "74250000";
						line_length = "1280";
						embedded_metadata_height = "1";
					};
					gmsl-link {
						src-csi-port = "b";
						dst-csi-port = "a";
						serdes-csi-link = "a";
						csi-mode = "1x4";
						st-vc = <0>;
						vc-id = <0>;
						num-lanes = <2>;
						ser-mux = <3>;
					};
				};
				d4m13: d4m@39 {
					status = "okay";
					reg = <0x39>;
					compatible = "intel,d4xx";
					def-addr = <0x10>;
					vcc-supply = <&p3737_vdd_1v8_sys>;
					cam-type = "RGB";
					maxim,gmsl-ser-device = <&ser3_a>;
					maxim,gmsl-dser-device = <&dser3>;
					intel,d4m-mux-device = <&d4m13>;
					ports {
						#address-cells = <1>;
						#size-cells = <0>;

						port@0 {
							reg = <0>;
							d4m13_out: endpoint {
								port-index = <5>;
								bus-width = <2>;
								vc-id = <1>;
								remote-endpoint = <&csi_in13>;
							};
						};
					};
					mode0 {
						pixel_t = "grey_y16";
						num_lanes = "2";
						csi_pixel_bit_depth = "16";
						active_w = "1920";
						active_h = "1080";
						tegra_sinterface = "serial_g";
						mclk_khz = "24000";
						pix_clk_hz = "74250000";
						line_length = "1280";
						embedded_metadata_height = "1";
					};
					gmsl-link {
						src-csi-port = "b";
						dst-csi-port = "a";
						serdes-csi-link = "a";
						csi-mode = "1x4";
						st-vc = <0>;
						vc-id = <1>;
						num-lanes = <2>;
						ser-mux=<3>;
					};
				};

				// d4m13: d4m@3a {
				// 	status = "okay";
				// 	def-addr = <0x10>;
				// 	reg = <0x3a>;
				// 	compatible = "intel,d4xx";
				// 	vcc-supply = <&p3737_vdd_1v8_sys>;
				// 	cam-type = "Y8";
				// 	maxim,gmsl-ser-device = <&ser3_a>;
				// 	maxim,gmsl-dser-device = <&dser3>;
				// 	intel,d4m-mux-device = <&d4m13>;
				// 	ports {
				// 		#address-cells = <1>;
				// 		#size-cells = <0>;

				// 		port@0 {
				// 			reg = <0>;
				// 			d4m13_out: endpoint {
				// 				port-index = <5>;
				// 				bus-width = <2>;
				// 				vc-id = <1>;
				// 				remote-endpoint = <&csi_in13>;
				// 			};
				// 		};
				// 	};
				// 	/* mode0: Y8, mode1: depth D16 */
				// 	mode0 {
				// 		pixel_t = "grey_y16";
				// 		num_lanes = "2";
				// 		csi_pixel_bit_depth = "16";
				// 		active_w = "1280";
				// 		active_h = "720";
				// 		tegra_sinterface = "serial_g";
				// 		mclk_khz = "24000";
				// 		pix_clk_hz = "74250000";
				// 		line_length = "1280"; /* 2200 */
				// 		embedded_metadata_height = "0";
				// 	};
				// 	gmsl-link {
				// 		src-csi-port = "b";
				// 		dst-csi-port = "a";
				// 		serdes-csi-link = "a";
				// 		csi-mode = "1x4";
				// 		st-vc = <0>;
				// 		vc-id = <1>;
				// 		num-lanes = <2>;
				// 		ser-mux = <3>;
				// 	};
				// };
				d4m14: d4m@3c {
					status = "okay";
					reg = <0x3c>;
					compatible = "intel,d4xx";
					def-addr = <0x10>;
					vcc-supply = <&p3737_vdd_1v8_sys>;
					cam-type = "Depth";
					maxim,gmsl-ser-device = <&ser3_b>;
					maxim,gmsl-dser-device = <&dser3>;
					intel,d4m-mux-device = <&d4m15>;
					ports {
						#address-cells = <1>;
						#size-cells = <0>;

						port@0 {
							reg = <0>;
							d4m14_out: endpoint {
								port-index = <5>;
								bus-width = <2>;
								vc-id = <2>;
								remote-endpoint = <&csi_in14>;
							};
						};
					};
					mode0 {
						pixel_t = "grey_y16";
						num_lanes = "2";
						csi_pixel_bit_depth = "16";
						active_w = "1280";
						active_h = "720";
						tegra_sinterface = "serial_g";
						mclk_khz = "24000";
						pix_clk_hz = "74250000";
						line_length = "1280";
						embedded_metadata_height = "1";
					};
					gmsl-link {
						src-csi-port = "b";
						dst-csi-port = "a";
						serdes-csi-link = "b";
						csi-mode = "1x4";
						st-vc = <0>;
						vc-id = <2>;
						num-lanes = <2>;
						ser-mux=<3>;
					};
				};
				d4m15: d4m@3d {
					status = "okay";
					reg = <0x3d>;
					compatible = "intel,d4xx";
					def-addr = <0x10>;
					vcc-supply = <&p3737_vdd_1v8_sys>;
					cam-type = "RGB";
					maxim,gmsl-ser-device = <&ser3_b>;
					maxim,gmsl-dser-device = <&dser3>;
					intel,d4m-mux-device = <&d4m15>;
					ports {
						#address-cells = <1>;
						#size-cells = <0>;

						port@0 {
							reg = <0>;
							d4m15_out: endpoint {
								port-index = <5>;
								bus-width = <2>;
								vc-id = <3>;
								remote-endpoint = <&csi_in15>;
							};
						};
					};
					mode0 {
						pixel_t = "grey_y16";
						num_lanes = "2";
						csi_pixel_bit_depth = "16";
						active_w = "1920";
						active_h = "1080";
						tegra_sinterface = "serial_g";
						mclk_khz = "24000";
						pix_clk_hz = "74250000";
						line_length = "1280";
						embedded_metadata_height = "1";
					};
					gmsl-link {
						src-csi-port = "b";
						dst-csi-port = "a";
						serdes-csi-link = "b";
						csi-mode = "1x4";
						st-vc = <0>;
						vc-id = <3>;
						num-lanes = <2>;
						ser-mux = <3>;
					};
				};
				// d4m15: d4m@3e {
				// 	status = "okay";
				// 	reg = <0x3e>;
				// 	compatible = "intel,d4xx";
				// 	def-addr = <0x10>;
				// 	vcc-supply = <&p3737_vdd_1v8_sys>;
				// 	cam-type = "Y8";
				// 	maxim,gmsl-ser-device = <&ser3_b>;
				// 	maxim,gmsl-dser-device = <&dser3>;
				// 	intel,d4m-mux-device = <&d4m15>;
				// 	ports {
				// 		#address-cells = <1>;
				// 		#size-cells = <0>;

				// 		port@0 {
				// 			reg = <0>;
				// 			d4m15_out: endpoint {
				// 				port-index = <5>;
				// 				bus-width = <2>;
				// 				vc-id = <3>;
				// 				remote-endpoint = <&csi_in15>;
				// 			};
				// 		};
				// 	};
				// 	/* mode0: Y8, mode1: depth D16 */
				// 	mode0 {
				// 		pixel_t = "grey_y16";
				// 		num_lanes = "2";
				// 		csi_pixel_bit_depth = "16";
				// 		active_w = "1280";
				// 		active_h = "720";
				// 		tegra_sinterface = "serial_g";
				// 		mclk_khz = "24000";
				// 		pix_clk_hz = "74250000";
				// 		line_length = "1280"; /* 2200 */
				// 		embedded_metadata_height = "0";
				// 	};
				// 	gmsl-link {
				// 		src-csi-port = "b";
				// 		dst-csi-port = "a";
				// 		serdes-csi-link = "b";
				// 		csi-mode = "1x4";
				// 		st-vc = <0>;
				// 		vc-id = <3>;
				// 		num-lanes = <2>;
				// 		ser-mux = <3>;
				// 	};
				// };
			};
		};
	};
};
